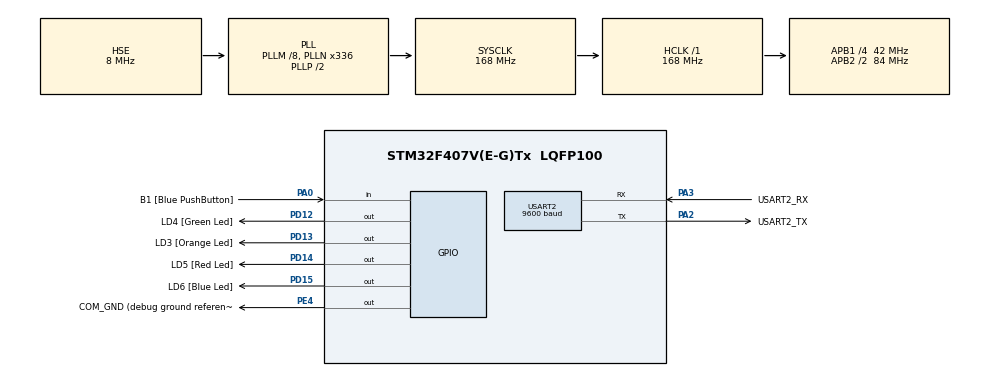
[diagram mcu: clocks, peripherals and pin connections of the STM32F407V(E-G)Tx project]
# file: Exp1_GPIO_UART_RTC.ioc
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Mcu.Family=STM32F4
Mcu.Name=STM32F407V(E-G)Tx
Mcu.Package=LQFP100
NVIC.PriorityGroup=NVIC_PRIORITYGROUP_4
NVIC.RTC_WKUP_IRQn=true\:0\:0\:false\:false\:true\:false\:true\:true
NVIC.USART2_IRQn=true\:1\:0\:false\:false\:true\:true\:true\:true
PA0-WKUP.GPIO_Label=B1 [Blue PushButton]
PA0-WKUP.GPIO_PuPd=GPIO_PULLDOWN
PA0-WKUP.Signal=GPIO_Input
PA13.GPIO_Label=SWDIO
PA13.Signal=SYS_JTMS-SWDIO
PA14.GPIO_Label=SWCLK
PA14.Signal=SYS_JTCK-SWCLK
PA2.GPIO_Label=USART2_TX
PA2.GPIO_Mode=GPIO_MODE_AF_PP
PA2.GPIO_PuPd=GPIO_PULLUP
PA2.GPIO_Speed=GPIO_SPEED_FREQ_VERY_HIGH
PA2.Mode=Asynchronous
PA2.Signal=USART2_TX
PA3.GPIO_Label=USART2_RX
PA3.GPIO_Mode=GPIO_MODE_AF_PP
PA3.GPIO_PuPd=GPIO_PULLUP
PA3.GPIO_Speed=GPIO_SPEED_FREQ_VERY_HIGH
PA3.Mode=Asynchronous
PA3.Signal=USART2_RX
PD12.GPIO_Label=LD4 [Green Led]
PD12.GPIO_PuPd=GPIO_NOPULL
PD12.GPIO_Speed=GPIO_SPEED_FREQ_LOW
PD12.Signal=GPIO_Output
PD13.GPIO_Label=LD3 [Orange Led]
PD13.GPIO_PuPd=GPIO_NOPULL
PD13.GPIO_Speed=GPIO_SPEED_FREQ_LOW
PD13.Signal=GPIO_Output
PD14.GPIO_Label=LD5 [Red Led]
PD14.GPIO_PuPd=GPIO_NOPULL
PD14.GPIO_Speed=GPIO_SPEED_FREQ_LOW
PD14.Signal=GPIO_Output
PD15.GPIO_Label=LD6 [Blue Led]
PD15.GPIO_PuPd=GPIO_NOPULL
PD15.GPIO_Speed=GPIO_SPEED_FREQ_LOW
PD15.Signal=GPIO_Output
PE4.GPIO_Label=COM_GND (debug ground reference)
PE4.GPIO_PuPd=GPIO_NOPULL
PE4.GPIO_Speed=GPIO_SPEED_FREQ_LOW
PE4.PinState=GPIO_PIN_RESET
PE4.Signal=GPIO_Output
PH0-OSC_IN.GPIO_Label=PH0-OSC_IN
PH0-OSC_IN.Mode=HSE-External-Oscillator
PH0-OSC_IN.Signal=RCC_OSC_IN
PH1-OSC_OUT.GPIO_Label=PH1-OSC_OUT
PH1-OSC_OUT.Mode=HSE-External-Oscillator
PH1-OSC_OUT.Signal=RCC_OSC_OUT
ProjectManager.HeapSize=0x200
ProjectManager.StackSize=0x400
ProjectManager.TargetToolchain=MDK-ARM V5.32
RCC.48MHZClocksFreq_Value=48000000
RCC.AHBFreq_Value=168000000
RCC.APB1CLKDivider=RCC_HCLK_DIV4
RCC.APB1Freq_Value=42000000
RCC.APB1TimFreq_Value=84000000
RCC.APB2CLKDivider=RCC_HCLK_DIV2
RCC.APB2Freq_Value=84000000
RCC.APB2TimFreq_Value=168000000
RCC.CortexFreq_Value=168000000
RCC.HCLKFreq_Value=168000000
RCC.HSE_VALUE=8000000
RCC.HSI_VALUE=16000000
RCC.LSE_VALUE=32768
RCC.PLLM=8
RCC.PLLN=336
RCC.PLLP=RCC_PLLP_DIV2
RCC.PLLQ=7
RCC.PLLSourceVirtual=RCC_PLLSOURCE_HSE
RCC.SYSCLKFreq_VALUE=168000000
RCC.SYSCLKSource=RCC_SYSCLKSOURCE_PLLCLK
RCC.VCOOutputFreq_Value=336000000
RTC.AsynchPrediv=127
RTC.HourFormat=RTC_HOURFORMAT_24
RTC.SynchPrediv=249
RTC.WakeUpClock=RTC_WAKEUPCLOCK_CK_SPRE_16BITS
USART2.BaudRate=9600
USART2.Parity=PARITY_NONE
USART2.StopBits=STOPBITS_1
USART2.VirtualMode-Asynchronous=VM_ASYNC
USART2.WordLength=WORDLENGTH_8B
VP_RTC_VS_RTC_Activate.Mode=RTC_Enabled

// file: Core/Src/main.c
/* USER CODE BEGIN Header */
/**
  ******************************************************************************
  * @file           : main.c
  * @brief          : 实验一 主程序
  *                   STM32F407G-DISC1 / STM32F407VGT6
  *
  *  任务：
  *   1) 系统时钟 SYSCLK = 168 MHz（HSE 8 MHz -> PLL）
  *   2) 按键 B1(PA0) 控制 LED3~LED6 正转逐一点亮（200 ms 一步）
  *   3) USART2 9600-8-N-1，与计算机收发测试（回显）
  *   4) RTC 秒中断中将时间格式化为字符串，经串口发送到计算机
  ******************************************************************************
  * @attention
  *
  * Copyright (c) 2026 STMicroelectronics.
  * All rights reserved.
  *
  * This software is licensed under terms that can be found in the LICENSE file
  * in the root directory of this software component.
  * If no LICENSE file comes with this software, it is provided AS-IS.
  *
  ******************************************************************************
  */
/* USER CODE END Header */
#include "main.h"
#include "rtc.h"
#include "usart.h"
#include "gpio.h"

/* USER CODE BEGIN Includes */
#include <stdio.h>
#include <string.h>
/* USER CODE END Includes */

/* USER CODE BEGIN PD */
#define LED_MARQUEE_PERIOD_MS   200U   /* 相邻两个 LED 的点亮间隔 */
#define KEY_DEBOUNCE_MS         20U    /* 按键消抖时间 */
/* USER CODE END PD */

/* USER CODE BEGIN PV */
/* RTC 秒中断与主循环之间传递的时间数据 */
volatile uint32_t m_nRtcYMD    = 0U;
volatile uint32_t m_nRtcHMS    = 0U;
volatile uint8_t  g_rtcSecFlag = 0U;
char              g_rtcString[32] = "RTC init\r\n";

/* 跑马灯状态
 * 四颗 LED 在板上呈菱形排列（不是一排）：
 *             LD3 (PD13)
 *   LD4 (PD12)            LD5 (PD14)
 *             LD6 (PD15)
 * 按名字 LED3→LED4→LED5→LED6 走是「上→左→右→下」，视觉上成 "Z" 字形；
 * 按物理位置绕圈（上→右→下→左）才是平滑的顺时针逐一点亮。
 */
static const uint16_t s_ledRing[4] = {LD3_Pin, LD5_Pin, LD6_Pin, LD4_Pin};
static uint8_t  s_ledIndex   = 0U;   /* 0->LD3(上) 1->LD5(右) 2->LD6(下) 3->LD4(左) */
static uint8_t  s_marqueeRun = 0U;
static uint32_t s_ledTick    = 0U;
/* USER CODE END PV */

void SystemClock_Config(void);
/* USER CODE BEGIN PFP */
static void Led_AllOff(void);
static void Led_Marquee_Step(void);
static void Key_Scan(void);
/* USER CODE END PFP */

/* USER CODE BEGIN 0 */
#if defined(__CC_ARM)
#pragma import(__use_no_semihosting)      /* 不使用半主机模式，printf 才能正常工作 */
struct __FILE
{
  int handle;
};
FILE __stdout;

void _sys_exit(int x)
{
  (void)x;
}

void _ttywrch(int ch)
{
  (void)ch;
}
#endif

/**
  * @brief  printf 重定向：把标准库输出送到 USART2
  * @note   串口调试助手中即可看到 printf 的内容
  */
int fputc(int ch, FILE *f)
{
  (void)f;
  HAL_UART_Transmit(&huart2, (uint8_t *)&ch, 1U, HAL_MAX_DELAY);
  return ch;
}
/* USER CODE END 0 */

int main(void)
{

  /* MCU Configuration--------------------------------------------------------*/

  /* Reset of all peripherals, Initializes the Flash interface and the Systick. */
  HAL_Init();

  /* Configure the system clock */
  SystemClock_Config();

  /* Initialize all configured peripherals */
  MX_GPIO_Init();
  MX_RTC_Init();
  MX_USART2_UART_Init();
  /* USER CODE BEGIN 2 */
  printf("\r\n");
  printf("**********************************************\r\n");
  printf("*  STM32F407G-DISC1  Experiment 1            *\r\n");
  printf("*  Clock / GPIO / UART2 / RTC                *\r\n");
  printf("**********************************************\r\n");
  printf("SYSCLK = %lu Hz\r\n", (unsigned long)HAL_RCC_GetSysClockFreq());
  printf("HCLK   = %lu Hz\r\n", (unsigned long)HAL_RCC_GetHCLKFreq());
  printf("PCLK1  = %lu Hz (APB1, max 42 MHz)\r\n", (unsigned long)HAL_RCC_GetPCLK1Freq());
  printf("PCLK2  = %lu Hz (APB2, max 84 MHz)\r\n", (unsigned long)HAL_RCC_GetPCLK2Freq());
  printf("USART2 : 9600 bps, 8 data bits, 1 stop bit, no parity\r\n");
  printf("Press B1 (PA0) to START/STOP the LED marquee (LED3->LED6)\r\n\r\n");

  /* 使能串口接收中断：收到的字符在回调中原样回显，用于收发测试 */
  if (HAL_UART_Receive_IT(&huart2, &g_uartRxByte, 1U) != HAL_OK)
  {
    Error_Handler();
  }
  /* USER CODE END 2 */

  /* Infinite loop */
  /* USER CODE BEGIN WHILE */
  while (1)
  {
    /* 1) 按键扫描：切换跑马灯运行/停止 */
    Key_Scan();

    /* 2) 跑马灯：每 200 ms 正转点亮下一个 LED */
    if ((s_marqueeRun != 0U) && ((HAL_GetTick() - s_ledTick) >= LED_MARQUEE_PERIOD_MS))
    {
      s_ledTick = HAL_GetTick();
      Led_Marquee_Step();
    }

    /* 3) RTC 秒信号：时间已在中断里格式化好，这里只负责发送 */
    if (g_rtcSecFlag != 0U)
    {
      g_rtcSecFlag = 0U;
      HAL_UART_Transmit(&huart2, (uint8_t *)g_rtcString,
                        (uint16_t)strlen(g_rtcString), 100U);
    }
    /* USER CODE END WHILE */

  }
}

void SystemClock_Config(void)
{
  RCC_OscInitTypeDef RCC_OscInitStruct = {0};
  RCC_ClkInitTypeDef RCC_ClkInitStruct = {0};

  /** Configure the main internal regulator output voltage
  */
  __HAL_RCC_PWR_CLK_ENABLE();
  __HAL_PWR_VOLTAGESCALING_CONFIG(PWR_REGULATOR_VOLTAGE_SCALE1);

  /** Initializes the RCC Oscillators according to the specified parameters
  * in the RCC_OscInitTypeDef structure.
  */
  RCC_OscInitStruct.OscillatorType = RCC_OSCILLATORTYPE_LSI|RCC_OSCILLATORTYPE_HSE;
  RCC_OscInitStruct.HSEState = RCC_HSE_ON;
  RCC_OscInitStruct.LSIState = RCC_LSI_ON;
  RCC_OscInitStruct.PLL.PLLState = RCC_PLL_ON;
  RCC_OscInitStruct.PLL.PLLSource = RCC_PLLSOURCE_HSE;
  RCC_OscInitStruct.PLL.PLLM = 8;
  RCC_OscInitStruct.PLL.PLLN = 336;
  RCC_OscInitStruct.PLL.PLLP = RCC_PLLP_DIV2;
  RCC_OscInitStruct.PLL.PLLQ = 7;
  if (HAL_RCC_OscConfig(&RCC_OscInitStruct) != HAL_OK)
  {
    Error_Handler();
  }

  /** Initializes the CPU, AHB and APB buses clocks
  */
  RCC_ClkInitStruct.ClockType = RCC_CLOCKTYPE_HCLK|RCC_CLOCKTYPE_SYSCLK
                              |RCC_CLOCKTYPE_PCLK1|RCC_CLOCKTYPE_PCLK2;
  RCC_ClkInitStruct.SYSCLKSource = RCC_SYSCLKSOURCE_PLLCLK;
  RCC_ClkInitStruct.AHBCLKDivider = RCC_SYSCLK_DIV1;
  RCC_ClkInitStruct.APB1CLKDivider = RCC_HCLK_DIV4;
  RCC_ClkInitStruct.APB2CLKDivider = RCC_HCLK_DIV2;

  if (HAL_RCC_ClockConfig(&RCC_ClkInitStruct, FLASH_LATENCY_5) != HAL_OK)
  {
    Error_Handler();
  }
}

/* USER CODE BEGIN 4 */
/**
  * @brief  熄灭全部用户 LED
  */
static void Led_AllOff(void)
{
  HAL_GPIO_WritePin(GPIOD, LD3_Pin | LD4_Pin | LD5_Pin | LD6_Pin, GPIO_PIN_RESET);
}

/**
  * @brief  正转点亮下一个 LED（顺时针绕圈）
  * @note   LD3(上) -> LD5(右) -> LD6(下) -> LD4(左) -> LD3 ...
  *         按物理位置绕圈，视觉上是平滑的顺时针逐一点亮（不是 Z 字形）
  */
static void Led_Marquee_Step(void)
{
  Led_AllOff();
  HAL_GPIO_WritePin(GPIOD, s_ledRing[s_ledIndex], GPIO_PIN_SET);

  s_ledIndex++;
  if (s_ledIndex >= 4U)
  {
    s_ledIndex = 0U;
  }
}

/**
  * @brief  按键扫描（软件消抖）
  * @note   B1 按下时 PA0 为高电平，按下沿切换跑马灯的运行/停止
  */
static void Key_Scan(void)
{
  static uint8_t  s_lastLevel = 0U;
  static uint32_t s_keyTick   = 0U;

  uint8_t nowLevel = (HAL_GPIO_ReadPin(B1_GPIO_Port, B1_Pin) == GPIO_PIN_SET) ? 1U : 0U;

  if ((nowLevel != s_lastLevel) && ((HAL_GetTick() - s_keyTick) >= KEY_DEBOUNCE_MS))
  {
    s_keyTick   = HAL_GetTick();
    s_lastLevel = nowLevel;

    if (nowLevel != 0U)          /* 只处理按下动作 */
    {
      s_marqueeRun = (s_marqueeRun != 0U) ? 0U : 1U;
      if (s_marqueeRun == 0U)
      {
        Led_AllOff();
      }
      printf("[KEY] marquee %s\r\n", (s_marqueeRun != 0U) ? "RUN" : "STOP");
    }
  }
}
/* USER CODE END 4 */

void Error_Handler(void)
{
  __disable_irq();
  while (1)
  {
  }
}
